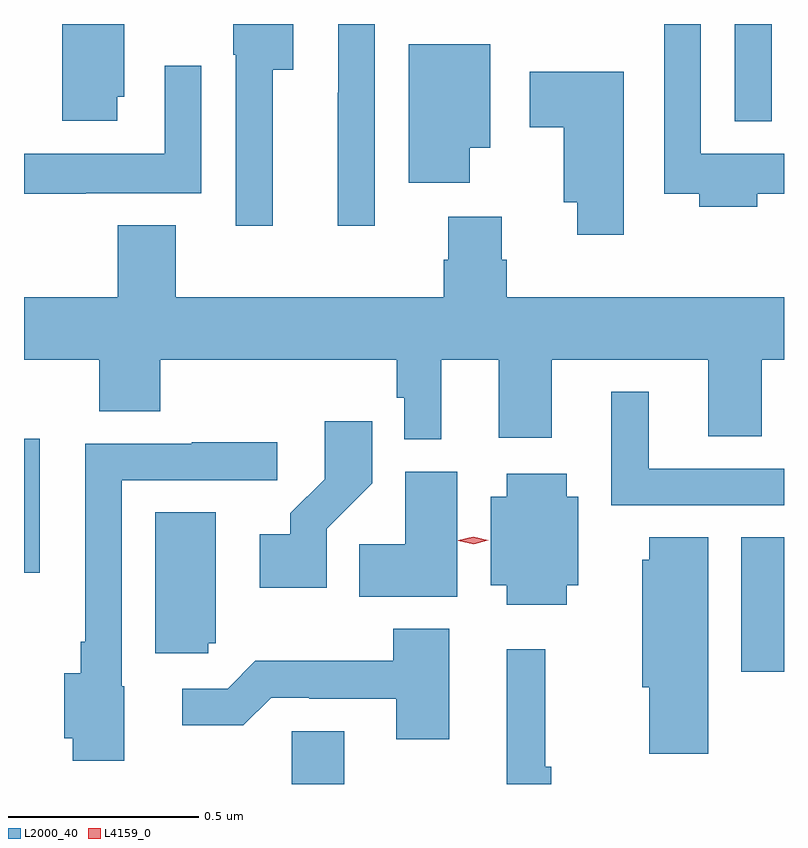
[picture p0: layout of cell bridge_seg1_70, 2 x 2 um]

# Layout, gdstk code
import gdstk
lib = gdstk.Library(unit=1e-6, precision=1e-09)
def R(c, l, rs):  # rectangles x0, y0, x1, y1
    for r in rs: c.add(gdstk.rectangle(r[:2], r[2:], *l))
def P(c, l, *ps):  # polygons
    for p in ps: c.add(gdstk.Polygon(p, *l))
L2000_40 = (2000, 40)
L4159_0 = (4159, 0)

bridge_seg1_70 = lib.new_cell('bridge_seg1_70')
R(bridge_seg1_70, L2000_40, [(532.02,519.979,532.159,520.118), (533.204,520.275,533.316,520.628), (531.316,520.535,531.358,520.888), (533.187,521.723,533.284,521.979)])
P(bridge_seg1_70, L2000_40, [(533.246,521.532),(533.316,521.532),(533.316,521.638),(533.097,521.638),(533.097,521.979),(533.001,521.979),(533.001,521.532),(533.093,521.532),(533.093,521.498),(533.246,521.498)],
  [(532.239,521.979),(532.143,521.979),(532.143,521.798),(532.142,521.798),(532.142,521.448),(532.239,521.448)],
  [(531.562,521.787),(531.58,521.787),(531.58,521.979),(531.416,521.979),(531.416,521.724),(531.562,521.724)],
  [(531.97,521.858),(532.024,521.858),(532.024,521.979),(531.866,521.979),(531.866,521.898),(531.873,521.898),(531.873,521.448),(531.97,521.448)],
  [(532.489,521.654),(532.543,521.654),(532.543,521.926),(532.328,521.926),(532.328,521.561),(532.489,521.561)],
  [(531.479,521.534),(531.783,521.534),(531.783,521.869),(531.687,521.869),(531.687,521.638),(531.316,521.638),(531.316,521.532),(531.479,521.532)],
  [(532.894,521.854),(532.647,521.854),(532.647,521.707),(532.736,521.707),(532.736,521.51),(532.772,521.51),(532.772,521.424),(532.894,521.424)],
  [(532.414,521.096),(532.565,521.096),(532.565,520.89),(532.705,520.89),(532.705,521.096),(533.117,521.096),(533.117,520.894),(533.257,520.894),(533.257,521.096),(533.316,521.096),(533.316,521.26),(532.586,521.26),(532.586,521.358),(532.573,521.358),(532.573,521.472),(532.433,521.472),(532.433,521.358),(532.421,521.358),(532.421,521.26),(531.715,521.26),(531.715,521.449),(531.563,521.449),(531.563,521.26),(531.316,521.26),(531.316,521.096),(531.514,521.096),(531.514,520.96),(531.674,520.96),(531.674,521.096),(532.297,521.096),(532.297,520.995),(532.317,520.995),(532.317,520.886),(532.414,520.886)],
  [(533.316,520.809),(532.96,520.809),(532.96,521.011),(532.862,521.011),(532.862,520.713),(533.316,520.713)],
  [(532.113,520.651),(532.232,520.77),(532.232,520.933),(532.107,520.933),(532.107,520.781),(532.016,520.691),(532.016,520.636),(531.936,520.636),(531.936,520.496),(532.113,520.496)],
  [(531.58,520.236),(531.573,520.236),(531.573,520.779),(531.982,520.779),(531.982,520.878),(531.757,520.878),(531.757,520.875),(531.477,520.875),(531.477,520.354),(531.465,520.354),(531.465,520.27),(531.422,520.27),(531.422,520.1),(531.444,520.1),(531.444,520.04),(531.58,520.04)],
  [(532.456,520.801),(532.319,520.801),(532.319,520.61),(532.198,520.61),(532.198,520.472),(532.456,520.472)],
  [(532.744,520.502),(532.774,520.502),(532.774,520.735),(532.744,520.735),(532.744,520.795),(532.586,520.795),(532.586,520.735),(532.544,520.735),(532.544,520.502),(532.586,520.502),(532.586,520.451),(532.744,520.451)],
  [(531.801,520.35),(531.82,520.35),(531.82,520.694),(531.662,520.694),(531.662,520.323),(531.801,520.323)],
  [(533.116,520.628),(532.961,520.628),(532.961,520.569),(532.943,520.569),(532.943,520.233),(532.961,520.233),(532.961,520.059),(533.116,520.059)],
  [(532.435,520.387),(532.288,520.387),(532.288,520.303),(531.925,520.303),(531.852,520.23),(531.732,520.23),(531.732,520.133),(531.893,520.133),(531.966,520.206),(532.066,520.206),(532.066,520.203),(532.295,520.203),(532.295,520.097),(532.435,520.097)],
  [(532.703,520.024),(532.688,520.024),(532.688,520.333),(532.586,520.333),(532.586,519.979),(532.703,519.979)])
P(bridge_seg1_70, L4159_0, [(532.499,520.61),(532.459,520.619),(532.459,520.619),(532.459,520.62),(532.498,520.63),(532.538,520.621),(532.538,520.621),(532.538,520.621)])

lib.write_gds('bridge_seg1_70.gds')
